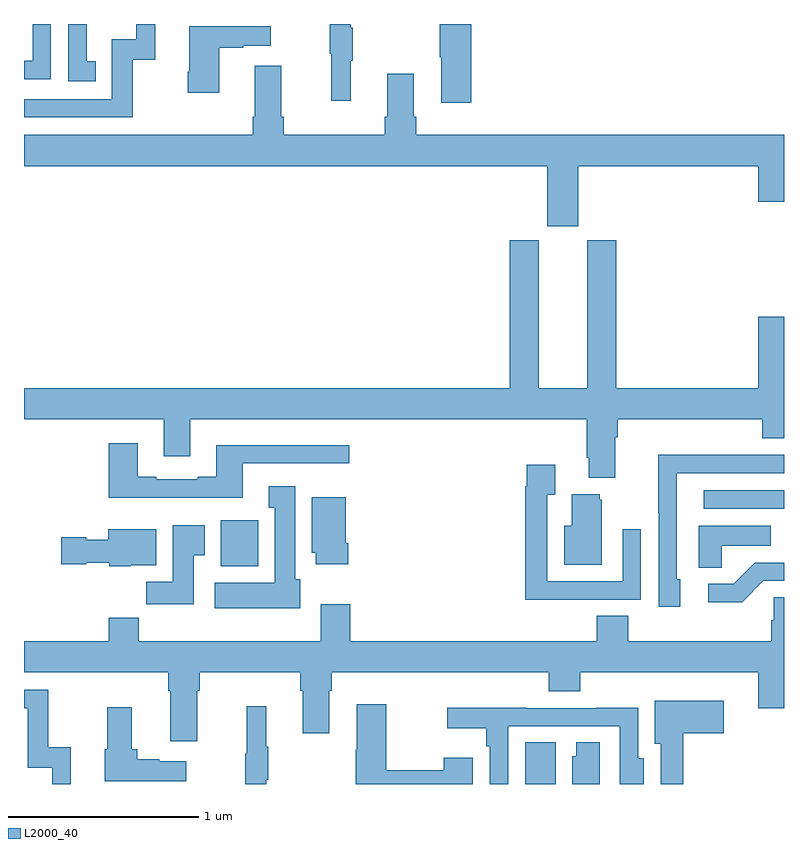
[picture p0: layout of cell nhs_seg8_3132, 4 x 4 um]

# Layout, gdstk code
import gdstk
lib = gdstk.Library(unit=1e-6, precision=1e-09)
def R(c, l, rs):  # rectangles x0, y0, x1, y1
    for r in rs: c.add(gdstk.rectangle(r[:2], r[2:], *l))
def P(c, l, *ps):  # polygons
    for p in ps: c.add(gdstk.Polygon(p, *l))
L2000_40 = (2000, 40)

nhs_seg8_3132 = lib.new_cell('nhs_seg8_3132')
R(nhs_seg8_3132, L2000_40, [(307.637,1127.9,307.798,1128.119), (306.035,1129.046,306.232,1129.288), (308.577,1129.35,309,1129.446)])
P(nhs_seg8_3132, L2000_40, [(305.378,1131.705),(305.329,1131.705),(305.329,1131.9),(305.232,1131.9),(305.232,1131.6),(305.378,1131.6)],
  [(307.355,1131.9),(307.189,1131.9),(307.189,1131.724),(307.196,1131.724),(307.196,1131.486),(307.355,1131.486)],
  [(305.142,1131.9),(305.046,1131.9),(305.046,1131.706),(305,1131.706),(305,1131.609),(305.142,1131.609)],
  [(305.572,1131.711),(305.69,1131.711),(305.69,1131.9),(305.592,1131.9),(305.592,1131.819),(305.463,1131.819),(305.463,1131.504),(305,1131.504),(305,1131.408),(305.572,1131.408)],
  [(306.719,1131.707),(306.73,1131.707),(306.73,1131.881),(306.719,1131.881),(306.719,1131.9),(306.609,1131.9),(306.609,1131.744),(306.616,1131.744),(306.616,1131.495),(306.719,1131.495)],
  [(306.028,1131.775),(306.155,1131.775),(306.155,1131.785),(306.298,1131.785),(306.298,1131.889),(305.87,1131.889),(305.87,1131.649),(305.863,1131.649),(305.863,1131.537),(306.028,1131.537)],
  [(307.918,1131.152),(308.864,1131.152),(308.864,1130.964),(309,1130.964),(309,1131.316),(307.064,1131.316),(307.064,1131.412),(307.051,1131.412),(307.051,1131.637),(306.911,1131.637),(306.911,1131.412),(306.899,1131.412),(306.899,1131.316),(306.368,1131.316),(306.368,1131.412),(306.355,1131.412),(306.355,1131.679),(306.215,1131.679),(306.215,1131.412),(306.203,1131.412),(306.203,1131.316),(305,1131.316),(305,1131.152),(307.754,1131.152),(307.754,1130.835),(307.918,1130.835)],
  [(308.113,1129.724),(308.126,1129.724),(308.126,1129.82),(308.885,1129.82),(308.885,1129.721),(309,1129.721),(309,1130.359),(308.864,1130.359),(308.864,1129.984),(308.117,1129.984),(308.117,1130.763),(307.964,1130.763),(307.964,1129.984),(307.708,1129.984),(307.708,1130.763),(307.556,1130.763),(307.556,1129.984),(305,1129.984),(305,1129.82),(305.735,1129.82),(305.735,1129.626),(305.875,1129.626),(305.875,1129.82),(307.961,1129.82),(307.961,1129.618),(307.973,1129.618),(307.973,1129.511),(308.113,1129.511)],
  [(306.151,1129.587),(306.712,1129.587),(306.712,1129.684),(306.011,1129.684),(306.011,1129.516),(305.915,1129.516),(305.915,1129.503),(305.695,1129.503),(305.695,1129.516),(305.599,1129.516),(305.599,1129.693),(305.447,1129.693),(305.447,1129.406),(306.151,1129.406)],
  [(308.455,1128.978),(308.436,1128.978),(308.436,1129.536),(309,1129.536),(309,1129.632),(308.801,1129.632),(308.801,1129.634),(308.338,1129.634),(308.338,1129.327),(308.34,1129.327),(308.34,1128.834),(308.455,1128.834)],
  [(307.931,1128.87),(308.247,1128.87),(308.247,1129.24),(308.151,1129.24),(308.151,1128.966),(307.755,1128.966),(307.755,1129.423),(307.795,1129.423),(307.795,1129.579),(307.647,1129.579),(307.647,1129.466),(307.639,1129.466),(307.639,1128.869),(307.931,1128.869)],
  [(306.454,1128.978),(306.427,1128.978),(306.427,1129.468),(306.287,1129.468),(306.287,1129.355),(306.32,1129.355),(306.32,1128.958),(306.003,1128.958),(306.003,1128.824),(306.454,1128.824)],
  [(308.041,1129.395),(308.03,1129.395),(308.03,1129.426),(307.883,1129.426),(307.883,1129.258),(307.844,1129.258),(307.844,1129.055),(308.041,1129.055)],
  [(306.707,1129.168),(306.694,1129.168),(306.694,1129.408),(306.515,1129.408),(306.515,1129.116),(306.536,1129.116),(306.536,1129.056),(306.707,1129.056)],
  [(305.893,1129.105),(305.95,1129.105),(305.95,1129.261),(305.783,1129.261),(305.783,1128.964),(305.644,1128.964),(305.644,1128.846),(305.893,1128.846)],
  [(308.673,1129.154),(308.93,1129.154),(308.93,1129.258),(308.552,1129.258),(308.552,1129.039),(308.673,1129.039)],
  [(305.562,1129.052),(305.695,1129.052),(305.695,1129.24),(305.444,1129.24),(305.444,1129.186),(305.328,1129.186),(305.328,1129.199),(305.196,1129.199),(305.196,1129.057),(305.328,1129.057),(305.328,1129.064),(305.448,1129.064),(305.448,1129.046),(305.562,1129.046)],
  [(308.892,1128.969),(309,1128.969),(309,1129.065),(308.846,1129.065),(308.735,1128.954),(308.601,1128.954),(308.601,1128.857),(308.779,1128.857)],
  [(305.911,1128.392),(305.924,1128.392),(305.924,1128.488),(306.455,1128.488),(306.455,1128.392),(306.467,1128.392),(306.467,1128.168),(306.607,1128.168),(306.607,1128.392),(306.62,1128.392),(306.62,1128.488),(307.763,1128.488),(307.763,1128.389),(307.928,1128.389),(307.928,1128.488),(308.864,1128.488),(308.864,1128.3),(309,1128.3),(309,1128.884),(308.946,1128.884),(308.946,1128.761),(308.933,1128.761),(308.933,1128.652),(308.18,1128.652),(308.18,1128.785),(308.015,1128.785),(308.015,1128.652),(306.716,1128.652),(306.716,1128.847),(306.563,1128.847),(306.563,1128.652),(305.603,1128.652),(305.603,1128.776),(305.447,1128.776),(305.447,1128.652),(305,1128.652),(305,1128.488),(305.759,1128.488),(305.759,1128.392),(305.771,1128.392),(305.771,1128.126),(305.911,1128.126)],
  [(305.246,1128.094),(305.128,1128.094),(305.128,1128.396),(305,1128.396),(305,1128.3),(305.019,1128.3),(305.019,1127.985),(305.148,1127.985),(305.148,1127.9),(305.246,1127.9)],
  [(308.47,1128.167),(308.683,1128.167),(308.683,1128.337),(308.321,1128.337),(308.321,1128.113),(308.351,1128.113),(308.351,1127.9),(308.47,1127.9)],
  [(307.363,1128.037),(307.21,1128.037),(307.21,1127.972),(306.906,1127.972),(306.906,1128.319),(306.752,1128.319),(306.752,1128.08),(306.745,1128.08),(306.745,1127.9),(307.363,1127.9)],
  [(306.275,1127.923),(306.286,1127.923),(306.286,1128.097),(306.275,1128.097),(306.275,1128.31),(306.172,1128.31),(306.172,1128.06),(306.165,1128.06),(306.165,1127.9),(306.275,1127.9)],
  [(305.854,1128.019),(305.711,1128.019),(305.711,1128.029),(305.597,1128.029),(305.597,1128.084),(305.566,1128.084),(305.566,1128.304),(305.437,1128.304),(305.437,1128.084),(305.426,1128.084),(305.426,1127.915),(305.854,1127.915)],
  [(307.548,1128.204),(308.136,1128.204),(308.136,1127.9),(308.263,1127.9),(308.263,1128.036),(308.232,1128.036),(308.232,1128.302),(308.011,1128.302),(308.011,1128.3),(307.645,1128.3),(307.645,1128.302),(307.227,1128.302),(307.227,1128.194),(307.432,1128.194),(307.432,1128.098),(307.452,1128.098),(307.452,1127.9),(307.548,1127.9)],
  [(308.029,1128.119),(307.907,1128.119),(307.907,1128.045),(307.886,1128.045),(307.886,1127.9),(308.029,1127.9)])

lib.write_gds('nhs_seg8_3132.gds')
